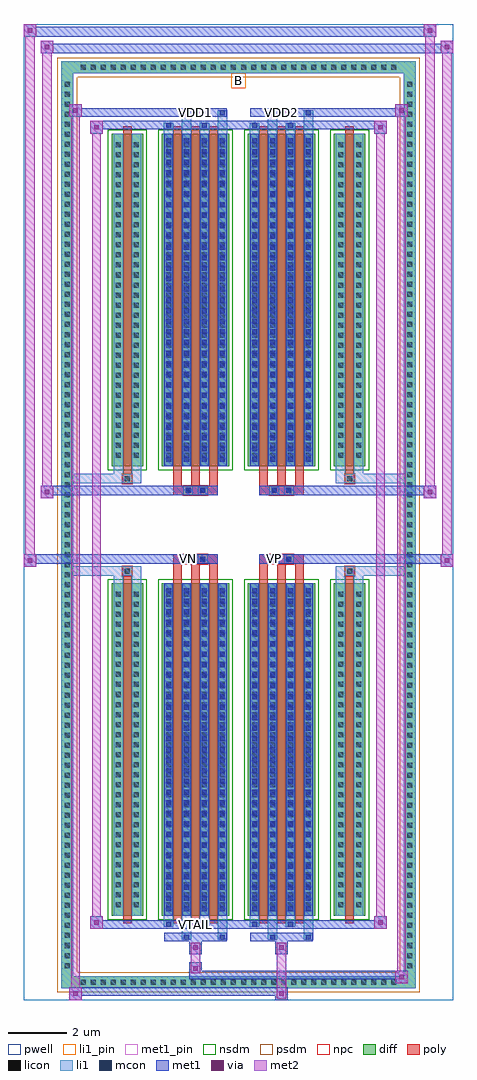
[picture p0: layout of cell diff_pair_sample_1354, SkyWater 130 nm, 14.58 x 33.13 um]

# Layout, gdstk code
import gdstk
lib = gdstk.Library(unit=1e-6, precision=5e-09)
def R(c, l, rs):  # rectangles x0, y0, x1, y1
    for r in rs: c.add(gdstk.rectangle(r[:2], r[2:], *l))
def A(c, l, x, y, w, h, nx, ny, dx, dy):  # array of equal rectangles
    R(c, l, [(x+i*dx, y+j*dy, x+i*dx+w, y+j*dy+h) for i in range(nx) for j in range(ny)])
def P(c, l, *ps):  # polygons
    for p in ps: c.add(gdstk.Polygon(p, *l))
pwell = (64, 44)
diff = (65, 20)
poly = (66, 20)
licon = (66, 44)
li1_pin = (67, 16)
li1 = (67, 20)
mcon = (67, 44)
met1_pin = (68, 16)
met1 = (68, 20)
via = (68, 44)
met2 = (69, 20)
nsdm = (93, 44)
psdm = (94, 20)
npc = (95, 20)

diff_pair_sample_1354 = lib.new_cell('diff_pair_sample_1354')
R(diff_pair_sample_1354, pwell, [(-7.29,-16.13,7.29,17), (-4.61,-14.32,-0.01,-0.8), (0.01,-14.32,4.61,-0.8), (-4.61,0.8,-0.01,14.32), (0.01,0.8,4.61,14.32)])
A(diff_pair_sample_1354, diff, -5.475, -15.73, 0.41, 0.41, 32, 2, 0.34, 31.05)
A(diff_pair_sample_1354, diff, -6.02, -15.165, 0.41, 0.41, 1, 89, 0, 0.34)
A(diff_pair_sample_1354, diff, 5.61, -15.165, 0.41, 0.41, 1, 89, 0, 0.34)
R(diff_pair_sample_1354, diff, [(-5.475,-15.73,5.475,-15.32), (-6.02,-15.165,-5.61,15.165), (5.61,-15.165,6.02,15.165), (-4.3,-13.275,-3.24,-1.985), (-2.6,-13.275,-0.32,-1.985), (0.32,-13.275,2.6,-1.985), (3.24,-13.275,4.3,-1.985), (-4.3,1.985,-3.24,13.275), (-2.6,1.985,-0.32,13.275), (0.32,1.985,2.6,13.275), (3.24,1.985,4.3,13.275), (-5.475,15.32,5.475,15.73)])
P(diff_pair_sample_1354, diff, [(6.02,15.73),(-6.02,15.73),(-6.02,-15.32),(-5.61,-15.32),(-5.61,15.32),(5.61,15.32),(5.61,-15.32),(-5.61,-15.32),(-6.02,-15.32),(-6.02,-15.73),(6.02,-15.73)])
A(diff_pair_sample_1354, poly, -2.21, -13.525, 0.28, 11.79, 3, 2, 0.61, 15.26)
A(diff_pair_sample_1354, poly, 0.71, -13.525, 0.28, 11.79, 3, 2, 0.61, 15.26)
A(diff_pair_sample_1354, poly, -2.21, -1.735, 0.28, 0.405, 3, 2, 0.61, 3.065)
A(diff_pair_sample_1354, poly, 0.71, -1.735, 0.28, 0.405, 3, 2, 0.61, 3.065)
R(diff_pair_sample_1354, poly, [(-3.91,-13.525,-3.63,-1.735), (3.63,-13.525,3.91,-1.735), (-3.935,-1.735,-3.605,-1.405), (-3.935,-1.735,-3.605,-1.405), (3.605,-1.735,3.935,-1.405), (3.605,-1.735,3.935,-1.405), (-2.21,-1.33,-0.71,-1), (-1.875,-1.33,-1.545,-1), (-1.375,-1.33,-1.045,-1), (0.71,-1.33,2.21,-1), (1.045,-1.33,1.375,-1), (1.545,-1.33,1.875,-1), (-2.21,1,-0.71,1.33), (-1.875,1,-1.545,1.33), (-1.375,1,-1.045,1.33), (0.71,1,2.21,1.33), (1.045,1,1.375,1.33), (1.545,1,1.875,1.33), (-3.935,1.405,-3.605,1.735), (-3.935,1.405,-3.605,1.735), (3.605,1.405,3.935,1.735), (3.605,1.405,3.935,1.735), (-3.91,1.735,-3.63,13.525), (3.63,1.735,3.91,13.525)])
A(diff_pair_sample_1354, licon, -5.355, -15.61, 0.17, 0.17, 32, 2, 0.34, 31.05)
A(diff_pair_sample_1354, licon, -5.9, -15.045, 0.17, 0.17, 1, 89, 0, 0.34)
A(diff_pair_sample_1354, licon, 5.73, -15.045, 0.17, 0.17, 1, 89, 0, 0.34)
A(diff_pair_sample_1354, licon, -4.16, -12.985, 0.17, 0.17, 1, 32, 0, 0.34)
A(diff_pair_sample_1354, licon, -3.55, -12.985, 0.17, 0.17, 1, 32, 0, 0.34)
A(diff_pair_sample_1354, licon, -2.46, -12.985, 0.17, 0.17, 4, 32, 0.61, 0.34)
A(diff_pair_sample_1354, licon, 0.46, -12.985, 0.17, 0.17, 4, 32, 0.61, 0.34)
A(diff_pair_sample_1354, licon, 3.38, -12.985, 0.17, 0.17, 1, 32, 0, 0.34)
A(diff_pair_sample_1354, licon, 3.99, -12.985, 0.17, 0.17, 1, 32, 0, 0.34)
A(diff_pair_sample_1354, licon, -4.16, 2.275, 0.17, 0.17, 1, 32, 0, 0.34)
A(diff_pair_sample_1354, licon, -3.55, 2.275, 0.17, 0.17, 1, 32, 0, 0.34)
A(diff_pair_sample_1354, licon, -2.46, 2.275, 0.17, 0.17, 4, 32, 0.61, 0.34)
A(diff_pair_sample_1354, licon, 0.46, 2.275, 0.17, 0.17, 4, 32, 0.61, 0.34)
A(diff_pair_sample_1354, licon, 3.38, 2.275, 0.17, 0.17, 1, 32, 0, 0.34)
A(diff_pair_sample_1354, licon, 3.99, 2.275, 0.17, 0.17, 1, 32, 0, 0.34)
R(diff_pair_sample_1354, licon, [(-3.855,-1.655,-3.685,-1.485), (3.685,-1.655,3.855,-1.485), (-1.795,-1.25,-1.625,-1.08), (-1.295,-1.25,-1.125,-1.08), (1.125,-1.25,1.295,-1.08), (1.625,-1.25,1.795,-1.08), (-1.795,1.08,-1.625,1.25), (-1.295,1.08,-1.125,1.25), (1.125,1.08,1.295,1.25), (1.625,1.08,1.795,1.25), (-3.855,1.485,-3.685,1.655), (3.685,1.485,3.855,1.655)])
R(diff_pair_sample_1354, li1_pin, [(-0.25,14.82,0.25,15.32)])
A(diff_pair_sample_1354, li1, -5.435, -15.69, 0.33, 0.33, 32, 2, 0.34, 31.05)
A(diff_pair_sample_1354, li1, -5.98, -15.125, 0.33, 0.33, 1, 89, 0, 0.34)
A(diff_pair_sample_1354, li1, 5.65, -15.125, 0.33, 0.33, 1, 89, 0, 0.34)
A(diff_pair_sample_1354, li1, -2.54, -13.275, 0.33, 11.29, 4, 2, 0.61, 15.26)
A(diff_pair_sample_1354, li1, 0.38, -13.275, 0.33, 11.29, 4, 2, 0.61, 15.26)
A(diff_pair_sample_1354, li1, -2.46, -13.115, 0.17, 0.17, 4, 31, 0.61, 0.36)
A(diff_pair_sample_1354, li1, -2.46, -13.115, 0.17, 10.97, 4, 2, 0.61, 15.26)
A(diff_pair_sample_1354, li1, 0.46, -13.115, 0.17, 0.17, 4, 31, 0.61, 0.36)
A(diff_pair_sample_1354, li1, 0.46, -13.115, 0.17, 10.97, 4, 2, 0.61, 15.26)
A(diff_pair_sample_1354, li1, -4.24, -13.065, 0.33, 0.33, 1, 32, 0, 0.34)
A(diff_pair_sample_1354, li1, -3.63, -13.065, 0.33, 0.33, 1, 32, 0, 0.34)
A(diff_pair_sample_1354, li1, -2.54, -13.065, 0.33, 0.33, 4, 32, 0.61, 0.34)
A(diff_pair_sample_1354, li1, 0.38, -13.065, 0.33, 0.33, 4, 32, 0.61, 0.34)
A(diff_pair_sample_1354, li1, 3.3, -13.065, 0.33, 0.33, 1, 32, 0, 0.34)
A(diff_pair_sample_1354, li1, 3.91, -13.065, 0.33, 0.33, 1, 32, 0, 0.34)
A(diff_pair_sample_1354, li1, -2.46, 2.145, 0.17, 0.17, 4, 31, 0.61, 0.36)
A(diff_pair_sample_1354, li1, 0.46, 2.145, 0.17, 0.17, 4, 31, 0.61, 0.36)
A(diff_pair_sample_1354, li1, -4.24, 2.195, 0.33, 0.33, 1, 32, 0, 0.34)
A(diff_pair_sample_1354, li1, -3.63, 2.195, 0.33, 0.33, 1, 32, 0, 0.34)
A(diff_pair_sample_1354, li1, -2.54, 2.195, 0.33, 0.33, 4, 32, 0.61, 0.34)
A(diff_pair_sample_1354, li1, 0.38, 2.195, 0.33, 0.33, 4, 32, 0.61, 0.34)
A(diff_pair_sample_1354, li1, 3.3, 2.195, 0.33, 0.33, 1, 32, 0, 0.34)
A(diff_pair_sample_1354, li1, 3.91, 2.195, 0.33, 0.33, 1, 32, 0, 0.34)
R(diff_pair_sample_1354, li1, [(-6.02,-15.73,-5.61,-15.32), (-6.02,-15.73,-5.61,-15.32), (-5.61,-15.73,5.61,-15.32), (5.61,-15.73,6.02,-15.32), (5.61,-15.73,6.02,-15.32), (-6.02,-15.32,-5.61,15.32), (5.61,-15.32,6.02,15.32), (-1.93,-14.08,-1.6,-13.275), (-1.85,-14.08,-1.68,-13.91), (-0.71,-14.08,-0.38,-13.275), (-0.63,-14.08,-0.46,-13.91), (0.99,-14.08,1.32,-13.275), (1.07,-14.08,1.24,-13.91), (2.21,-14.08,2.54,-13.275), (2.29,-14.08,2.46,-13.91), (-2.54,-13.65,-2.21,-13.275), (-2.46,-13.65,-2.29,-13.48), (-1.32,-13.65,-0.99,-13.275), (-1.24,-13.65,-1.07,-13.48), (0.38,-13.65,0.71,-13.275), (0.46,-13.65,0.63,-13.48), (1.6,-13.65,1.93,-13.275), (1.68,-13.65,1.85,-13.48), (-4.24,-13.275,-3.91,-1.985), (-3.63,-13.275,-3.3,-1.985), (3.3,-13.275,3.63,-1.985), (3.91,-13.275,4.24,-1.985), (-4.24,-1.985,-3.91,-1.405), (-3.63,-1.985,-3.3,-1.405), (3.3,-1.985,3.63,-1.405), (3.91,-1.985,4.24,-1.405), (-6.02,-1.735,-3.935,-1.405), (-4.24,-1.735,-3.935,-1.405), (-3.935,-1.735,-3.605,-1.405), (-3.605,-1.735,-3.3,-1.405), (3.3,-1.735,3.605,-1.405), (3.605,-1.735,3.935,-1.405), (3.605,-1.735,6.02,-1.405), (3.935,-1.735,4.24,-1.405), (-1.875,-1.33,-1.545,-1), (-1.375,-1.33,-1.045,-1), (1.045,-1.33,1.375,-1), (1.545,-1.33,1.875,-1), (-1.875,1,-1.545,1.33), (-1.375,1,-1.045,1.33), (1.045,1,1.375,1.33), (1.545,1,1.875,1.33), (-6.02,1.405,-3.935,1.735), (-4.24,1.405,-3.935,1.735), (-4.24,1.405,-3.91,1.985), (-3.935,1.405,-3.605,1.735), (-3.63,1.405,-3.3,1.985), (-3.605,1.405,-3.3,1.735), (3.3,1.405,3.605,1.735), (3.3,1.405,3.63,1.985), (3.605,1.405,3.935,1.735), (3.605,1.405,6.02,1.735), (3.91,1.405,4.24,1.985), (3.935,1.405,4.24,1.735), (-4.24,1.985,-3.91,13.275), (-3.63,1.985,-3.3,13.275), (3.3,1.985,3.63,13.275), (3.91,1.985,4.24,13.275), (-2.54,13.275,-2.21,13.65), (-1.93,13.275,-1.6,14.08), (-1.32,13.275,-0.99,13.65), (-0.71,13.275,-0.38,14.08), (0.38,13.275,0.71,13.65), (0.99,13.275,1.32,14.08), (1.6,13.275,1.93,13.65), (2.21,13.275,2.54,14.08), (-2.46,13.48,-2.29,13.65), (-1.24,13.48,-1.07,13.65), (0.46,13.48,0.63,13.65), (1.68,13.48,1.85,13.65), (-1.85,13.91,-1.68,14.08), (-0.63,13.91,-0.46,14.08), (1.07,13.91,1.24,14.08), (2.29,13.91,2.46,14.08), (-6.02,15.32,-5.61,15.73), (-6.02,15.32,-5.61,15.73), (-5.61,15.32,5.61,15.73), (5.61,15.32,6.02,15.73), (5.61,15.32,6.02,15.73)])
A(diff_pair_sample_1354, mcon, -2.46, -13.115, 0.17, 0.17, 4, 31, 0.61, 0.36)
A(diff_pair_sample_1354, mcon, 0.46, -13.115, 0.17, 0.17, 4, 31, 0.61, 0.36)
A(diff_pair_sample_1354, mcon, -2.46, 2.145, 0.17, 0.17, 4, 31, 0.61, 0.36)
A(diff_pair_sample_1354, mcon, 0.46, 2.145, 0.17, 0.17, 4, 31, 0.61, 0.36)
R(diff_pair_sample_1354, mcon, [(-1.85,-14.08,-1.68,-13.91), (-0.63,-14.08,-0.46,-13.91), (1.07,-14.08,1.24,-13.91), (2.29,-14.08,2.46,-13.91), (-2.46,-13.65,-2.29,-13.48), (-1.24,-13.65,-1.07,-13.48), (0.46,-13.65,0.63,-13.48), (1.68,-13.65,1.85,-13.48), (-1.795,-1.25,-1.625,-1.08), (-1.295,-1.25,-1.125,-1.08), (1.125,-1.25,1.295,-1.08), (1.625,-1.25,1.795,-1.08), (-1.795,1.08,-1.625,1.25), (-1.295,1.08,-1.125,1.25), (1.125,1.08,1.295,1.25), (1.625,1.08,1.795,1.25), (-2.46,13.48,-2.29,13.65), (-1.24,13.48,-1.07,13.65), (0.46,13.48,0.63,13.65), (1.68,13.48,1.85,13.65), (-1.85,13.91,-1.68,14.08), (-0.63,13.91,-0.46,14.08), (1.07,13.91,1.24,14.08), (2.29,13.91,2.46,14.08)])
R(diff_pair_sample_1354, met1_pin, [(-1.595,-13.69,-1.325,-13.42), (-1.845,-1.29,-1.575,-1.02), (1.075,-1.29,1.345,-1.02), (-1.595,13.87,-1.325,14.14), (1.325,13.87,1.595,14.14)])
A(diff_pair_sample_1354, met1, -2.52, -13.275, 0.29, 11.29, 4, 2, 0.61, 15.26)
A(diff_pair_sample_1354, met1, 0.4, -13.275, 0.29, 11.29, 4, 2, 0.61, 15.26)
A(diff_pair_sample_1354, met1, -2.52, -13.175, 0.29, 0.29, 4, 31, 0.61, 0.36)
A(diff_pair_sample_1354, met1, 0.4, -13.175, 0.29, 0.29, 4, 31, 0.61, 0.36)
A(diff_pair_sample_1354, met1, -2.52, 2.085, 0.29, 0.29, 4, 31, 0.61, 0.36)
A(diff_pair_sample_1354, met1, 0.4, 2.085, 0.29, 0.29, 4, 31, 0.61, 0.36)
R(diff_pair_sample_1354, met1, [(-5.75,-16.13,-5.32,-15.7), (1.245,-16.13,1.675,-15.7), (-5.75,-15.99,1.675,-15.7), (5.32,-15.56,5.75,-15.13), (-1.675,-15.42,5.75,-15.13), (-1.675,-15.28,-1.245,-14.85), (-1.675,-14.57,-1.245,-14.14), (1.245,-14.57,1.675,-14.14), (-2.52,-14.14,-0.4,-13.85), (-1.91,-14.14,-1.62,-13.85), (-0.69,-14.14,-0.4,-13.85), (0.4,-14.14,2.52,-13.85), (1.01,-14.14,1.3,-13.85), (2.23,-14.14,2.52,-13.85), (-5.04,-13.71,-4.61,-13.28), (-5.04,-13.71,-2.52,-13.42), (-2.52,-13.71,-2.23,-13.42), (-2.52,-13.71,-0.4,-13.42), (-1.3,-13.71,-1.01,-13.42), (-0.4,-13.71,0.4,-13.42), (0.4,-13.71,0.69,-13.42), (0.4,-13.71,2.52,-13.42), (1.62,-13.71,1.91,-13.42), (2.52,-13.71,5.04,-13.42), (4.61,-13.71,5.04,-13.28), (-7.29,-1.43,-6.86,-1), (6.86,-1.43,7.29,-1), (-7.29,-1.33,-0.71,-1), (-2.21,-1.33,-0.71,-1), (0.71,-1.33,2.21,-1), (0.71,-1.33,7.29,-1), (-1.855,-1.31,-1.565,-1.02), (-1.355,-1.31,-1.065,-1.02), (1.065,-1.31,1.355,-1.02), (1.565,-1.31,1.855,-1.02), (-6.72,0.9,-6.29,1.33), (6.29,0.9,6.72,1.33), (-6.72,1,-2.21,1.33), (-2.21,1,-0.71,1.33), (0.71,1,2.21,1.33), (2.21,1,6.72,1.33), (-1.855,1.02,-1.565,1.31), (-1.355,1.02,-1.065,1.31), (1.065,1.02,1.355,1.31), (1.565,1.02,1.855,1.31), (-5.04,13.28,-4.61,13.71), (4.61,13.28,5.04,13.71), (-5.04,13.42,-2.52,13.71), (-2.52,13.42,-2.23,13.71), (-2.52,13.42,-0.4,13.71), (-1.3,13.42,-1.01,13.71), (-0.4,13.42,0.4,13.71), (0.4,13.42,0.69,13.71), (0.4,13.42,2.52,13.71), (1.62,13.42,1.91,13.71), (2.52,13.42,5.04,13.71), (-5.75,13.85,-5.32,14.28), (-5.75,13.85,-2.52,14.14), (-2.52,13.85,-0.4,14.14), (-1.91,13.85,-1.62,14.14), (-0.69,13.85,-0.4,14.14), (0.4,13.85,2.52,14.14), (1.01,13.85,1.3,14.14), (2.23,13.85,2.52,14.14), (2.52,13.85,5.75,14.14), (5.32,13.85,5.75,14.28), (-6.72,16,-6.29,16.43), (-6.72,16,-4.61,16.33), (-4.61,16,4.61,16.33), (4.61,16,7.29,16.33), (6.86,16,7.29,16.43), (-7.29,16.57,-6.86,17), (-7.29,16.57,-4.61,16.9), (-4.61,16.57,4.61,16.9), (4.61,16.57,6.72,16.9), (6.29,16.57,6.72,17)])
R(diff_pair_sample_1354, via, [(-5.61,-15.99,-5.46,-15.84), (1.385,-15.99,1.535,-15.84), (5.46,-15.42,5.61,-15.27), (-1.535,-15.14,-1.385,-14.99), (-1.535,-14.43,-1.385,-14.28), (1.385,-14.43,1.535,-14.28), (-4.9,-13.57,-4.75,-13.42), (4.75,-13.57,4.9,-13.42), (-7.15,-1.29,-7,-1.14), (7,-1.29,7.15,-1.14), (-6.58,1.04,-6.43,1.19), (6.43,1.04,6.58,1.19), (-4.9,13.42,-4.75,13.57), (4.75,13.42,4.9,13.57), (-5.61,13.99,-5.46,14.14), (5.46,13.99,5.61,14.14), (-6.58,16.14,-6.43,16.29), (7,16.14,7.15,16.29), (-7.15,16.71,-7,16.86), (6.43,16.71,6.58,16.86)])
R(diff_pair_sample_1354, met2, [(-5.75,-16.13,-5.32,-15.7), (-5.68,-16.13,-5.39,14.28), (-5.39,-16.13,-5.32,-15.7), (-5.7,-16.08,-5.37,-15.75), (1.295,-16.08,1.625,-15.75), (1.295,-15.75,1.625,-14.52), (5.32,-15.56,5.75,-15.13), (5.39,-15.56,5.68,14.28), (5.68,-15.56,5.75,-15.13), (5.37,-15.51,5.7,-15.18), (-1.625,-15.23,-1.295,-14.9), (-1.625,-14.9,-1.295,-14.52), (-1.625,-14.52,-1.295,-14.19), (1.295,-14.52,1.625,-14.19), (-5.04,-13.71,-4.61,-13.28), (-4.97,-13.71,-4.68,13.71), (-4.68,-13.71,-4.61,-13.28), (4.61,-13.71,5.04,-13.28), (4.68,-13.71,4.97,13.71), (4.97,-13.71,5.04,-13.28), (-4.99,-13.66,-4.66,-13.33), (4.66,-13.66,4.99,-13.33), (-7.29,-1.43,-6.86,-1), (-7.24,-1.43,-6.91,17), (-6.91,-1.43,-6.86,-1), (6.86,-1.43,7.29,-1), (6.91,-1.43,7.24,16.43), (7.24,-1.43,7.29,-1), (-7.24,-1.38,-6.91,-1.05), (6.91,-1.38,7.24,-1.05), (-6.72,0.9,-6.29,1.33), (-6.67,0.9,-6.34,16.43), (-6.34,0.9,-6.29,1.33), (6.29,0.9,6.72,1.33), (6.34,0.9,6.67,17), (6.67,0.9,6.72,1.33), (-6.67,0.95,-6.34,1.28), (6.34,0.95,6.67,1.28), (-5.04,13.28,-4.61,13.71), (-4.68,13.28,-4.61,13.71), (4.61,13.28,5.04,13.71), (4.97,13.28,5.04,13.71), (-4.99,13.33,-4.66,13.66), (4.66,13.33,4.99,13.66), (-5.75,13.85,-5.32,14.28), (-5.39,13.85,-5.32,14.28), (5.32,13.85,5.75,14.28), (5.68,13.85,5.75,14.28), (-5.7,13.9,-5.37,14.23), (5.37,13.9,5.7,14.23), (-6.72,16,-6.29,16.43), (-6.34,16,-6.29,16.43), (6.86,16,7.29,16.43), (7.24,16,7.29,16.43), (-6.67,16.05,-6.34,16.38), (6.91,16.05,7.24,16.38), (-7.29,16.57,-6.86,17), (-6.91,16.57,-6.86,17), (6.29,16.57,6.72,17), (6.67,16.57,6.72,17), (-7.24,16.62,-6.91,16.95), (6.34,16.62,6.67,16.95)])
R(diff_pair_sample_1354, nsdm, [(-4.43,-13.405,-3.11,-1.855), (-2.73,-13.405,-0.19,-1.855), (0.19,-13.405,2.73,-1.855), (3.11,-13.405,4.43,-1.855), (-4.43,1.855,-3.11,13.405), (-2.73,1.855,-0.19,13.405), (0.19,1.855,2.73,13.405), (3.11,1.855,4.43,13.405)])
P(diff_pair_sample_1354, psdm, [(6.15,15.86),(-6.15,15.86),(-6.15,-15.19),(-5.48,-15.19),(-5.48,15.19),(5.48,15.19),(5.48,-15.19),(-5.48,-15.19),(-6.15,-15.19),(-6.15,-15.86),(6.15,-15.86)])
R(diff_pair_sample_1354, npc, [(-3.955,-1.755,-3.585,-1.385), (3.585,-1.755,3.955,-1.385), (-1.895,-1.35,-1.525,-0.98), (-1.895,-1.35,-1.025,-0.98), (-1.895,-1.35,-1.025,-0.98), (-1.395,-1.35,-1.025,-0.98), (1.025,-1.35,1.395,-0.98), (1.025,-1.35,1.895,-0.98), (1.025,-1.35,1.895,-0.98), (1.525,-1.35,1.895,-0.98), (-1.895,0.98,-1.525,1.35), (-1.895,0.98,-1.025,1.35), (-1.895,0.98,-1.025,1.35), (-1.395,0.98,-1.025,1.35), (1.025,0.98,1.395,1.35), (1.025,0.98,1.895,1.35), (1.025,0.98,1.895,1.35), (1.525,0.98,1.895,1.35), (-3.955,1.385,-3.585,1.755), (3.585,1.385,3.955,1.755)])
diff_pair_sample_1354.add(gdstk.Label('VTAIL', (-1.46,-13.555), layer=68, texttype=5))
diff_pair_sample_1354.add(gdstk.Label('VN', (-1.71,-1.155), layer=68, texttype=5))
diff_pair_sample_1354.add(gdstk.Label('VP', (1.21,-1.155), layer=68, texttype=5))
diff_pair_sample_1354.add(gdstk.Label('B', (0,15.07), layer=67, texttype=5))
diff_pair_sample_1354.add(gdstk.Label('VDD2', (1.46,14.005), layer=68, texttype=5))
diff_pair_sample_1354.add(gdstk.Label('VDD1', (-1.46,14.005), layer=68, texttype=5))

lib.write_gds('diff_pair_sample_1354.gds')
